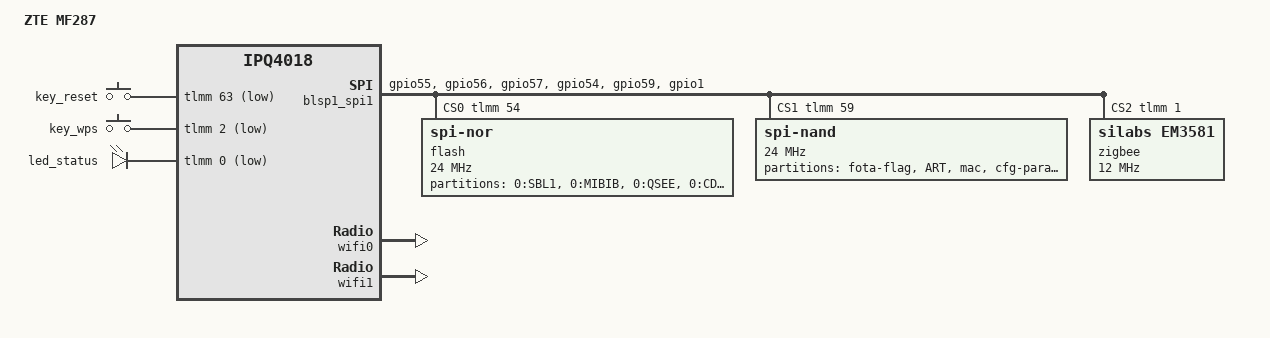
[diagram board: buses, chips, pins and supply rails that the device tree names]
// SPDX-License-Identifier: GPL-2.0-or-later OR MIT
// Copyright (c) 2022, Pawel Dembicki <paweldembicki@gmail.com>.
// Copyright (c) 2022, Giammarco Marzano <stich86@gmail.com>.
// Copyright (c) 2023, Andreas Böhler <dev@aboehler.at>

#include "qcom-ipq4018-mf287_common.dtsi"

/ {
	model = "ZTE MF287";
	compatible = "zte,mf287";
};

&gpio_modem_reset {
	gpios = <&tlmm 5 GPIO_ACTIVE_HIGH>;
};

&key_reset {
	gpios = <&tlmm 63 GPIO_ACTIVE_LOW>;
};

&key_wps {
	gpios = <&tlmm 2 GPIO_ACTIVE_LOW>;
};

&led_status {
	gpios = <&tlmm 0 GPIO_ACTIVE_LOW>;
};

&blsp1_spi1 {
	pinctrl-0 = <&spi_0_pins>;
	pinctrl-names = "default";
	status = "okay";
	cs-gpios = <&tlmm 54 GPIO_ACTIVE_HIGH>,
		   <&tlmm 59 GPIO_ACTIVE_HIGH>,
		   <&tlmm 1 GPIO_ACTIVE_HIGH>;

	flash@0 {
		compatible = "jedec,spi-nor";
		#address-cells = <1>;
		#size-cells = <1>;
		reg = <0>;
		spi-max-frequency = <24000000>;

		partitions {
			compatible = "fixed-partitions";
			#address-cells = <1>;
			#size-cells = <1>;

			partition@0 {
				label = "0:SBL1";
				reg = <0x0 0x40000>;
				read-only;
			};

			partition@40000 {
				label = "0:MIBIB";
				reg = <0x40000 0x20000>;
				read-only;
			};

			partition@60000 {
				label = "0:QSEE";
				reg = <0x60000 0x60000>;
				read-only;
			};

			partition@c0000 {
				label = "0:CDT";
				reg = <0xc0000 0x10000>;
				read-only;
			};

			partition@d0000 {
				label = "0:DDRPARAMS";
				reg = <0xd0000 0x10000>;
				read-only;
			};

			partition@e0000 {
				label = "0:APPSBLENV";
				reg = <0xe0000 0x10000>;
				read-only;
			};

			partition@f0000 {
				label = "0:APPSBL";
				reg = <0xf0000 0xc0000>;
				read-only;
			};

			partition@1b0000 {
				label = "0:reserved1";
				reg = <0x1b0000 0x50000>;
				read-only;
			};
		};
	};

	spi-nand@1 { /* flash@1 ? */
		compatible = "spi-nand";
		reg = <1>;
		spi-max-frequency = <24000000>;

		partitions {
			compatible = "fixed-partitions";
			#address-cells = <1>;
			#size-cells = <1>;

			partition@0 {
				label = "fota-flag";
				reg = <0x0 0x140000>;
				read-only;
			};

			partition@140000 {
				label = "ART";
				reg = <0x140000 0x140000>;
				read-only;

				nvmem-layout {
					compatible = "fixed-layout";
					#address-cells = <1>;
					#size-cells = <1>;

					precal_art_1000: precal@1000 {
						reg = <0x1000 0x2f20>;
					};

					precal_art_5000: precal@5000 {
						reg = <0x5000 0x2f20>;
					};
				};
			};

			partition@280000 {
				label = "mac";
				reg = <0x280000 0x140000>;
				read-only;

				nvmem-layout {
					compatible = "fixed-layout";
					#address-cells = <1>;
					#size-cells = <1>;

					macaddr_mac_0: macaddr@0 {
						compatible = "mac-base";
						reg = <0x0 0x6>;
						#nvmem-cell-cells = <1>;
					};
				};
			};

			partition@3c0000 {
				label = "cfg-param";
				reg = <0x3c0000 0x600000>;
				read-only;
			};

			partition@9c0000 {
				label = "oops";
				reg = <0x9c0000 0x140000>;
			};

			partition@b00000 {
				label = "web";
				reg = <0xb00000 0x800000>;
			};

			partition@1300000 {
				label = "rootfs";
				reg = <0x1300000 0x2200000>;
			};

			partition@3500000 {
				label = "data";
				reg = <0x3500000 0x1900000>;
			};

			partition@4e00000 {
				label = "fota";
				reg = <0x4e00000 0x3200000>;
			};
		};
	};

	zigbee@2 {
		#address-cells = <1>;
		#size-cells = <0>;

		compatible = "silabs,em3581";
		reg = <2>;
		spi-max-frequency = <12000000>;
	};
};

&tlmm {
	serial_pins: serial_pinmux {
		mux {
			pins = "gpio60", "gpio61";
			function = "blsp_uart0";
			bias-disable;
		};
	};

	spi_0_pins: spi_0_pinmux {
		pinmux {
			function = "blsp_spi0";
			pins = "gpio55", "gpio56", "gpio57";
			drive-strength = <12>;
			bias-disable;
		};

		pinmux_cs {
			function = "gpio";
			pins = "gpio54", "gpio59", "gpio1";
			drive-strength = <2>;
			bias-disable;
			output-high;
		};
	};
};

&wifi0 {
	qcom,ath10k-calibration-variant = "zte,mf287";
};

&wifi1{
	qcom,ath10k-calibration-variant = "zte,mf287";
};
